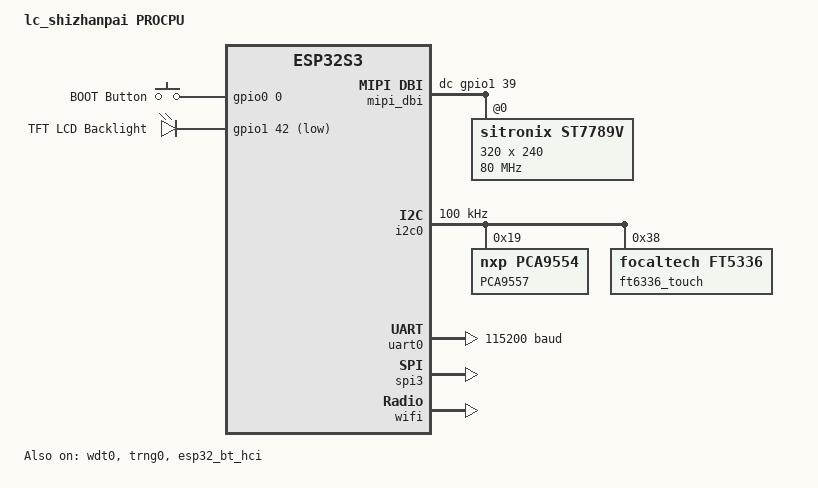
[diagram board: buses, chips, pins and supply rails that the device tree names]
/*
 * Copyright (c) 2022 Espressif Systems (Shanghai) Co., Ltd.
 *
 * SPDX-License-Identifier: Apache-2.0
 */
/dts-v1/;


#include <espressif/esp32s3/esp32s3_wroom_n16r8.dtsi>
#include <zephyr/dt-bindings/input/input-event-codes.h>
#include <zephyr/dt-bindings/input/esp32-touch-sensor-input.h>
#include <espressif/partitions_0x0_amp.dtsi>
#include "lc_shizhanpai-pinctrl.dtsi"

/ {
	model = "lc_shizhanpai PROCPU";
	compatible = "espressif,esp32s3";

	aliases {
		i2c0 = &i2c0;
		watchdog0 = &wdt0;
		sw2 = &button0;
		backlight = &tft_backlight;
	};

	chosen {
		zephyr,sram = &sram1;
		zephyr,console = &uart0;
		zephyr,shell-uart = &uart0;
		zephyr,flash = &flash0;
		zephyr,code-partition = &slot0_partition;
		zephyr,bt-hci = &esp32_bt_hci;
		zephyr,display = &st7789v;
		zephyr,touch = &ft6336_touch;
		// zephyr,camera = &lcd_cam;
	};

	buttons {
		compatible = "gpio-keys";
		button0: button_0 {
			gpios = <&gpio0 0 (GPIO_PULL_UP | GPIO_ACTIVE_HIGH)>;
			label = "BOOT Button";
			zephyr,code = <INPUT_KEY_0>;
		};
	};

	mipi_dbi {
		compatible = "zephyr,mipi-dbi-spi";
		dc-gpios = <&gpio1 39 GPIO_ACTIVE_HIGH>;
		spi-dev = <&spi3>;
		write-only;
		#address-cells = <1>;
		#size-cells = <0>;

		st7789v: st7789v@0 {
			compatible = "sitronix,st7789v";
			mipi-max-frequency = <80000000>;
			reg = <0>;
			width = <320>;
			height = <240>;
			x-offset = <0>;
			y-offset = <0>;
			vcom = <0x19>;
			gctrl = <0x35>;
			vrhs = <0x12>;
			vdvs = <0x20>;
			mdac = <0x60>;
			gamma = <0x01>;
			colmod = <0x55>;
			lcm = <0x2c>;
			porch-param = [0c 0c 00 33 33];
			cmd2en-param = [5a 69 02 01];
			pwctrl1-param = [a4 a1];
			pvgam-param = [D0 04 0D 11 13 2B 3F 54 4C 18 0D 0B 1F 23];
			nvgam-param = [D0 04 0C 11 13 2C 3F 44 51 2F 1F 1F 20 23];
			ram-param = [00 F0];
			rgb-param = [CD 08 14];
			mipi-mode = "MIPI_DBI_MODE_SPI_4WIRE";
		};
	};

	leds {
		compatible = "gpio-leds";
		tft_backlight: led_0 {
			gpios = <&gpio1 42 GPIO_ACTIVE_LOW>;
			label = "TFT LCD Backlight";
		};
	};

	lvgl_pointer {
		input = <&ft6336_touch>;
		compatible = "zephyr,lvgl-pointer-input";
	};

};


&i2c0 {
    status = "okay";
    clock-frequency = <I2C_BITRATE_STANDARD>;
    pinctrl-0 = <&i2c0_default>;
    pinctrl-names = "default";

    pca9557_io_expander: pca9554@19 {
        compatible = "nxp,pca9554";
		label = "PCA9557";
		status = "okay";
		reg = <0x19>;  

		gpio-controller;	
		#gpio-cells = <2>; 
		ngpios = <8>; 
    };

    ft6336_touch: ft5336@38 {
		status = "okay";
		compatible = "focaltech,ft5336";
		reg = <0x38>;
	};
};


&dma {
	status = "okay";
};

&uart0 {
	status = "okay";
	current-speed = <115200>;
	pinctrl-0 = <&uart0_default>;
	pinctrl-names = "default";
};

&spi3 {
	status = "okay";
	#address-cells = <1>;
	#size-cells = <0>;
	pinctrl-0 = <&spim3_default>;
	pinctrl-names = "default";
	cs-gpios = <&pca9557_io_expander 0 GPIO_ACTIVE_LOW>;
};

&gpio0 {
	status = "okay";
};

&gpio1 {
	status = "okay";
};

&i2s0 {
	pinctrl-0 = <&i2s0_default>;
	pinctrl-names = "default";
	status = "disabled";
};

&timer0 {
	status = "disabled";
};

&timer1 {
	status = "disabled";
};

&timer2 {
	status = "disabled";
};

&timer3 {
	status = "disabled";
};

&wdt0 {
	status = "okay";
};

&trng0 {
	status = "okay";
};

&usb_serial {
	status = "disabled";
};

&esp32_bt_hci {
	status = "okay";
};

&wifi {
	status = "okay";
};
